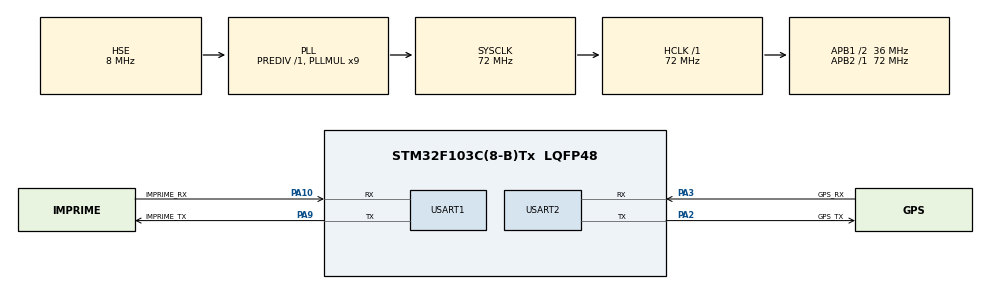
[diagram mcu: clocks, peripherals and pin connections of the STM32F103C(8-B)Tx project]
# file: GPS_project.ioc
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Dma.Request0=USART2_RX
Dma.Request1=USART2_TX
Dma.USART2_RX.0.Direction=DMA_PERIPH_TO_MEMORY
Dma.USART2_RX.0.Instance=DMA1_Channel6
Dma.USART2_RX.0.MemDataAlignment=DMA_MDATAALIGN_BYTE
Dma.USART2_RX.0.MemInc=DMA_MINC_ENABLE
Dma.USART2_RX.0.Mode=DMA_NORMAL
Dma.USART2_RX.0.PeriphDataAlignment=DMA_PDATAALIGN_BYTE
Dma.USART2_RX.0.PeriphInc=DMA_PINC_DISABLE
Dma.USART2_RX.0.Priority=DMA_PRIORITY_LOW
Dma.USART2_TX.1.Direction=DMA_MEMORY_TO_PERIPH
Dma.USART2_TX.1.Instance=DMA1_Channel7
Dma.USART2_TX.1.MemDataAlignment=DMA_MDATAALIGN_BYTE
Dma.USART2_TX.1.MemInc=DMA_MINC_ENABLE
Dma.USART2_TX.1.Mode=DMA_NORMAL
Dma.USART2_TX.1.PeriphDataAlignment=DMA_PDATAALIGN_BYTE
Dma.USART2_TX.1.PeriphInc=DMA_PINC_DISABLE
Dma.USART2_TX.1.Priority=DMA_PRIORITY_LOW
Mcu.Family=STM32F1
Mcu.Name=STM32F103C(8-B)Tx
Mcu.Package=LQFP48
NVIC.DMA1_Channel6_IRQn=true\:0\:0\:false\:false\:true\:false
NVIC.DMA1_Channel7_IRQn=true\:0\:0\:false\:false\:true\:false
NVIC.PriorityGroup=NVIC_PRIORITYGROUP_4
NVIC.USART1_IRQn=true\:0\:0\:false\:false\:true\:true
NVIC.USART2_IRQn=true\:0\:0\:false\:false\:true\:true
PA10.GPIO_Label=IMPRIME_RX
PA10.Mode=Asynchronous
PA10.Signal=USART1_RX
PA13.Mode=Serial_Wire
PA13.Signal=SYS_JTMS-SWDIO
PA14.Mode=Serial_Wire
PA14.Signal=SYS_JTCK-SWCLK
PA2.GPIO_Label=GPS_TX
PA2.Mode=Asynchronous
PA2.Signal=USART2_TX
PA3.GPIO_Label=GPS_RX
PA3.Mode=Asynchronous
PA3.Signal=USART2_RX
PA9.GPIO_Label=IMPRIME_TX
PA9.Mode=Asynchronous
PA9.Signal=USART1_TX
PD0-OSC_IN.Mode=HSE-External-Oscillator
PD0-OSC_IN.Signal=RCC_OSC_IN
PD1-OSC_OUT.Mode=HSE-External-Oscillator
PD1-OSC_OUT.Signal=RCC_OSC_OUT
ProjectManager.HeapSize=0x200
ProjectManager.StackSize=0x400
ProjectManager.TargetToolchain=SW4STM32
RCC.AHBFreq_Value=72000000
RCC.APB1CLKDivider=RCC_HCLK_DIV2
RCC.APB1Freq_Value=36000000
RCC.APB1TimFreq_Value=72000000
RCC.APB2Freq_Value=72000000
RCC.APB2TimFreq_Value=72000000
RCC.HCLKFreq_Value=72000000
RCC.PLLMUL=RCC_PLL_MUL9
RCC.PLLSourceVirtual=RCC_PLLSOURCE_HSE
RCC.SYSCLKFreq_VALUE=72000000
RCC.SYSCLKSource=RCC_SYSCLKSOURCE_PLLCLK
RCC.USBFreq_Value=72000000
USART1.VirtualMode=VM_ASYNC
USART2.VirtualMode=VM_ASYNC
board=custom

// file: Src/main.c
/**
  ******************************************************************************
  * @file           : main.c
  * @brief          : Main program body
  ******************************************************************************
  ** This notice applies to any and all portions of this file
  * that are not between comment pairs USER CODE BEGIN and
  * USER CODE END. Other portions of this file, whether
  * inserted by the user or by software development tools
  * are owned by their respective copyright owners.
  *
  * COPYRIGHT(c) 2019 STMicroelectronics
  *
  * Redistribution and use in source and binary forms, with or without modification,
  * are permitted provided that the following conditions are met:
  *   1. Redistributions of source code must retain the above copyright notice,
  *      this list of conditions and the following disclaimer.
  *   2. Redistributions in binary form must reproduce the above copyright notice,
  *      this list of conditions and the following disclaimer in the documentation
  *      and/or other materials provided with the distribution.
  *   3. Neither the name of STMicroelectronics nor the names of its contributors
  *      may be used to endorse or promote products derived from this software
  *      without specific prior written permission.
  *
  * THIS SOFTWARE IS PROVIDED BY THE COPYRIGHT HOLDERS AND CONTRIBUTORS "AS IS"
  * AND ANY EXPRESS OR IMPLIED WARRANTIES, INCLUDING, BUT NOT LIMITED TO, THE
  * IMPLIED WARRANTIES OF MERCHANTABILITY AND FITNESS FOR A PARTICULAR PURPOSE ARE
  * DISCLAIMED. IN NO EVENT SHALL THE COPYRIGHT HOLDER OR CONTRIBUTORS BE LIABLE
  * FOR ANY DIRECT, INDIRECT, INCIDENTAL, SPECIAL, EXEMPLARY, OR CONSEQUENTIAL
  * DAMAGES (INCLUDING, BUT NOT LIMITED TO, PROCUREMENT OF SUBSTITUTE GOODS OR
  * SERVICES; LOSS OF USE, DATA, OR PROFITS; OR BUSINESS INTERRUPTION) HOWEVER
  * CAUSED AND ON ANY THEORY OF LIABILITY, WHETHER IN CONTRACT, STRICT LIABILITY,
  * OR TORT (INCLUDING NEGLIGENCE OR OTHERWISE) ARISING IN ANY WAY OUT OF THE USE
  * OF THIS SOFTWARE, EVEN IF ADVISED OF THE POSSIBILITY OF SUCH DAMAGE.
  *
  ******************************************************************************
  */
#include "main.h"
#include "stm32f1xx_hal.h"

/* USER CODE BEGIN Includes */

#include "GPS_adafruit.h"

/* USER CODE END Includes */

UART_HandleTypeDef huart1;
UART_HandleTypeDef huart2;
DMA_HandleTypeDef hdma_usart2_rx;
DMA_HandleTypeDef hdma_usart2_tx;

/* USER CODE BEGIN PV */
/* Private variables ---------------------------------------------------------*/

GPS_data hgps;
char data[100];
char tx_buffer[256];
char nao_valido[50];
/* USER CODE END PV */

void SystemClock_Config(void);
static void MX_GPIO_Init(void);
static void MX_DMA_Init(void);
static void MX_USART1_UART_Init(void);
static void MX_USART2_UART_Init(void);

/* USER CODE BEGIN PFP */
/* Private function prototypes -----------------------------------------------*/

//Funcao para transmitir pelo UART
void Transmit_USART2(char *send);
void Transmit_USART1();

/* USER CODE END PFP */

int main(void)
{

  /* MCU Configuration----------------------------------------------------------*/

  /* Reset of all peripherals, Initializes the Flash interface and the Systick. */
  HAL_Init();

  /* Configure the system clock */
  SystemClock_Config();

  /* Initialize all configured peripherals */
  MX_GPIO_Init();
  MX_DMA_Init();
  MX_USART1_UART_Init();
  MX_USART2_UART_Init();
  /* USER CODE BEGIN 2 */

  /*LED C13 pisca para sinalizar que o progrma come�ou*/
	 HAL_GPIO_WritePin(GPIOC, GPIO_PIN_13, GPIO_PIN_RESET);
	 HAL_Delay(500);
	 HAL_GPIO_WritePin(GPIOC, GPIO_PIN_13, GPIO_PIN_SET);
	 HAL_Delay(500);
	 HAL_GPIO_WritePin(GPIOC, GPIO_PIN_13, GPIO_PIN_RESET);
	 HAL_Delay(500);

	 common_init(&hgps);

//	 Transmit_USART2(PMTK_SET_NMEA_OUTPUT_ALLDATA);
//	 Transmit_USART2(PMTK_SET_NMEA_OUTPUT_RMCGGA);
//	 Transmit_USART2(PMTK_SET_NMEA_UPDATE_1HZ);

	 Transmit_USART2(PMTK_SET_NMEA_OUTPUT_RMCONLY);
	 Transmit_USART2(PMTK_SET_NMEA_UPDATE_10HZ);
	 Transmit_USART2(PGCMD_ANTENNA);

	 if(HAL_UART_Receive_DMA(&huart2, (uint8_t*)data, (unsigned)sizeof(data))!= HAL_OK){
		 Error_Handler();
	 }

  /* USER CODE END 2 */

  /* Infinite loop */
  while (1)
  {

  }

}

void SystemClock_Config(void)
{

  RCC_OscInitTypeDef RCC_OscInitStruct;
  RCC_ClkInitTypeDef RCC_ClkInitStruct;

    /**Initializes the CPU, AHB and APB busses clocks
    */
  RCC_OscInitStruct.OscillatorType = RCC_OSCILLATORTYPE_HSE;
  RCC_OscInitStruct.HSEState = RCC_HSE_ON;
  RCC_OscInitStruct.HSEPredivValue = RCC_HSE_PREDIV_DIV1;
  RCC_OscInitStruct.HSIState = RCC_HSI_ON;
  RCC_OscInitStruct.PLL.PLLState = RCC_PLL_ON;
  RCC_OscInitStruct.PLL.PLLSource = RCC_PLLSOURCE_HSE;
  RCC_OscInitStruct.PLL.PLLMUL = RCC_PLL_MUL9;
  if (HAL_RCC_OscConfig(&RCC_OscInitStruct) != HAL_OK)
  {
    _Error_Handler(__FILE__, __LINE__);
  }

    /**Initializes the CPU, AHB and APB busses clocks
    */
  RCC_ClkInitStruct.ClockType = RCC_CLOCKTYPE_HCLK|RCC_CLOCKTYPE_SYSCLK
                              |RCC_CLOCKTYPE_PCLK1|RCC_CLOCKTYPE_PCLK2;
  RCC_ClkInitStruct.SYSCLKSource = RCC_SYSCLKSOURCE_PLLCLK;
  RCC_ClkInitStruct.AHBCLKDivider = RCC_SYSCLK_DIV1;
  RCC_ClkInitStruct.APB1CLKDivider = RCC_HCLK_DIV2;
  RCC_ClkInitStruct.APB2CLKDivider = RCC_HCLK_DIV1;

  if (HAL_RCC_ClockConfig(&RCC_ClkInitStruct, FLASH_LATENCY_2) != HAL_OK)
  {
    _Error_Handler(__FILE__, __LINE__);
  }

    /**Configure the Systick interrupt time
    */
  HAL_SYSTICK_Config(HAL_RCC_GetHCLKFreq()/1000);

    /**Configure the Systick
    */
  HAL_SYSTICK_CLKSourceConfig(SYSTICK_CLKSOURCE_HCLK);

  /* SysTick_IRQn interrupt configuration */
  HAL_NVIC_SetPriority(SysTick_IRQn, 0, 0);
}

/* USART1 init function */
static void MX_USART1_UART_Init(void)
{

  huart1.Instance = USART1;
  huart1.Init.BaudRate = 115200;
  huart1.Init.WordLength = UART_WORDLENGTH_8B;
  huart1.Init.StopBits = UART_STOPBITS_1;
  huart1.Init.Parity = UART_PARITY_NONE;
  huart1.Init.Mode = UART_MODE_TX_RX;
  huart1.Init.HwFlowCtl = UART_HWCONTROL_NONE;
  huart1.Init.OverSampling = UART_OVERSAMPLING_16;
  if (HAL_UART_Init(&huart1) != HAL_OK)
  {
    _Error_Handler(__FILE__, __LINE__);
  }

}

/* USART2 init function */
static void MX_USART2_UART_Init(void)
{

  huart2.Instance = USART2;
  huart2.Init.BaudRate = 9600;
  huart2.Init.WordLength = UART_WORDLENGTH_8B;
  huart2.Init.StopBits = UART_STOPBITS_1;
  huart2.Init.Parity = UART_PARITY_NONE;
  huart2.Init.Mode = UART_MODE_TX_RX;
  huart2.Init.HwFlowCtl = UART_HWCONTROL_NONE;
  huart2.Init.OverSampling = UART_OVERSAMPLING_16;
  if (HAL_UART_Init(&huart2) != HAL_OK)
  {
    _Error_Handler(__FILE__, __LINE__);
  }

}

static void MX_DMA_Init(void)
{
  /* DMA controller clock enable */
  __HAL_RCC_DMA1_CLK_ENABLE();

  /* DMA interrupt init */
  /* DMA1_Channel6_IRQn interrupt configuration */
  HAL_NVIC_SetPriority(DMA1_Channel6_IRQn, 0, 0);
  HAL_NVIC_EnableIRQ(DMA1_Channel6_IRQn);
  /* DMA1_Channel7_IRQn interrupt configuration */
  HAL_NVIC_SetPriority(DMA1_Channel7_IRQn, 0, 0);
  HAL_NVIC_EnableIRQ(DMA1_Channel7_IRQn);

}

/** Configure pins as
        * Analog
        * Input
        * Output
        * EVENT_OUT
        * EXTI
*/
static void MX_GPIO_Init(void)
{

  /* GPIO Ports Clock Enable */
  __HAL_RCC_GPIOD_CLK_ENABLE();
  __HAL_RCC_GPIOA_CLK_ENABLE();

}

/* USER CODE BEGIN 4 */

void Transmit_USART2(char *send){
	HAL_UART_Transmit_DMA(&huart2, (uint8_t*)send, (unsigned)sizeof(send));
	//while (HAL_UART_GetState(&huart2) != HAL_UART_STATE_READY){}

}

void HAL_UART_RxCpltCallback (UART_HandleTypeDef *huart){

	HAL_GPIO_TogglePin(GPIOC, GPIO_PIN_13);
	HAL_UART_Transmit_IT(&huart1, huart->pRxBuffPtr, (unsigned) huart->RxXferSize);
	//if(parse((char*)huart->pRxBuffPtr, &hgps)){
		//sprintf(tx_buffer, "Hour: %d\tMinutes: %d\tSeconds: %d\tMilliseconds: %d\tYear: %d\tMonth: %d\tDay: %d\tLatitude: %c\tLongitude: %c\tLatitude Valor: %lf\t Longitude Valor: %lf\n", hgps.hour, hgps.minute, hgps.seconds, hgps.milliseconds, hgps.year, hgps.month, hgps.day, hgps.lat, hgps.lon, hgps.latitude, hgps.longitude);/*Mensagem para interface novo jeito, pacote de 50Hz*/
		//HAL_UART_Transmit_IT(&huart1, (uint8_t*)tx_buffer, (uint16_t)sizeof(tx_buffer));
	//}
	//else{
		//sprintf(nao_valido, "Sem valor v�lido\n");/*Mensagem para interface novo jeito, pacote de 50Hz*/
		//HAL_UART_Transmit_IT(&huart1, (uint8_t*)nao_valido, (uint16_t)sizeof(nao_valido));
	//}

	// Habilita leitura do GPS
	if(HAL_UART_Receive_DMA(&huart2, (uint8_t*)data, (unsigned)sizeof(data))!= HAL_OK){
	  Error_Handler();
	}
}

void Transmit_USART1(){
	sprintf(tx_buffer, "Hour: %d\tMinutes: %d\tSeconds: %d\tMilliseconds: %d\tYear: %d\tMonth: %d\tDay: %d\tLatitude: %c\tLongitude: %c\tLatitude Valor: %lf\t Longitude Valor: %lf\n", hgps.hour, hgps.minute, hgps.seconds, hgps.milliseconds, hgps.year, hgps.month, hgps.day, hgps.lat, hgps.lon, hgps.latitude, hgps.longitude);/*Mensagem para interface novo jeito, pacote de 50Hz*/
	HAL_UART_Transmit_IT(&huart1, (uint8_t*)tx_buffer, (uint16_t)sizeof(tx_buffer));
}
/* USER CODE END 4 */

void _Error_Handler(char *file, int line)
{
  /* USER CODE BEGIN Error_Handler_Debug */
  /* User can add his own implementation to report the HAL error return state */
  while(1)
  {
	  HAL_GPIO_TogglePin(GPIOC, GPIO_PIN_13);
	  HAL_Delay(100);
  }
  /* USER CODE END Error_Handler_Debug */
}

/************************ (C) COPYRIGHT STMicroelectronics *****END OF FILE****/
